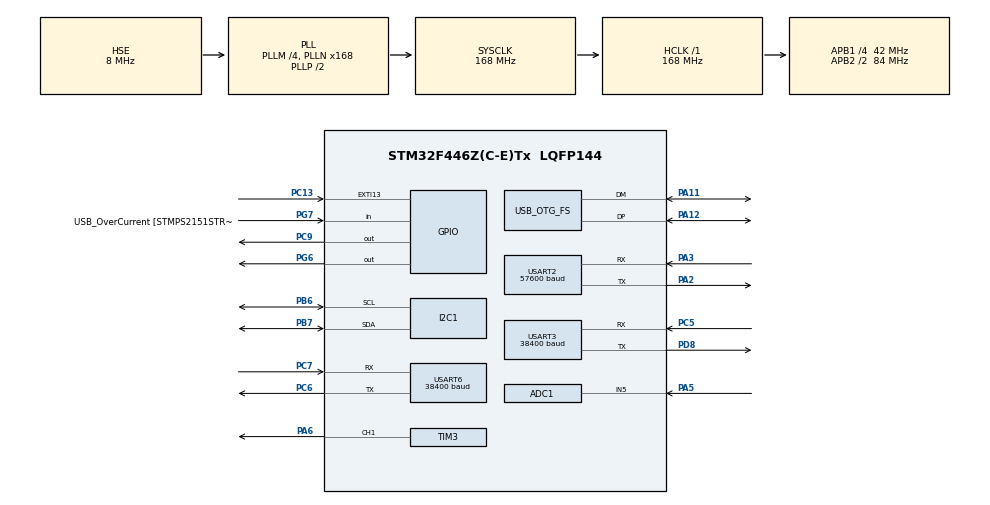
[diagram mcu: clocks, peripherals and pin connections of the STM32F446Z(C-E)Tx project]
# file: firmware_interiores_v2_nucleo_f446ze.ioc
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ADC1.Channel-9\#ChannelRegularConversion=ADC_CHANNEL_5
ADC1.NbrOfConversionFlag=1
ADC1.Rank-9\#ChannelRegularConversion=1
ADC1.SamplingTime-9\#ChannelRegularConversion=ADC_SAMPLETIME_3CYCLES
ADC1.master=1
Mcu.Family=STM32F4
Mcu.Name=STM32F446Z(C-E)Tx
Mcu.Package=LQFP144
NVIC.ADC_IRQn=true\:0\:0\:false\:false\:true\:true\:true\:true
NVIC.EXTI15_10_IRQn=true\:0\:0\:false\:false\:true\:true\:true\:true
NVIC.OTG_FS_IRQn=true\:0\:0\:false\:false\:true\:true\:true\:true
NVIC.PriorityGroup=NVIC_PRIORITYGROUP_4
NVIC.TIM2_IRQn=true\:0\:0\:false\:false\:true\:true\:true\:true
NVIC.USART2_IRQn=true\:0\:0\:false\:false\:true\:true\:true\:true
NVIC.USART3_IRQn=true\:0\:0\:false\:false\:true\:true\:true\:true
NVIC.USART6_IRQn=true\:0\:0\:false\:false\:true\:true\:true\:true
PA0-WKUP.Signal=S_TIM5_CH1
PA1.Signal=S_TIM5_CH2
PA10.GPIO_Label=USB_ID
PA10.Signal=USB_OTG_FS_ID
PA11.Mode=Device_Only
PA11.Signal=USB_OTG_FS_DM
PA12.Mode=Device_Only
PA12.Signal=USB_OTG_FS_DP
PA13.GPIO_Label=TMS
PA13.Mode=Serial_Wire
PA13.Signal=SYS_JTMS-SWDIO
PA14.GPIO_Label=TCK
PA14.Mode=Serial_Wire
PA14.Signal=SYS_JTCK-SWCLK
PA2.Mode=Asynchronous
PA2.Signal=USART2_TX
PA3.Mode=Asynchronous
PA3.Signal=USART2_RX
PA5.Signal=ADCx_IN5
PA6.Signal=S_TIM3_CH1
PA8.GPIO_Label=USB_SOF [TP1]
PA8.Signal=USB_OTG_FS_SOF
PA9.GPIO_Label=USB_VBUS
PA9.Signal=USB_OTG_FS_VBUS
PB0.Signal=S_TIM3_CH3
PB6.Mode=I2C
PB6.Signal=I2C1_SCL
PB7.Mode=I2C
PB7.Signal=I2C1_SDA
PB8.Signal=S_TIM2_CH1_ETR
PB9.Signal=S_TIM2_CH2
PC13.Signal=GPXTI13
PC14-OSC32_IN.Signal=RCC_OSC32_IN
PC15-OSC32_OUT.Signal=RCC_OSC32_OUT
PC5.Mode=Asynchronous
PC5.Signal=USART3_RX
PC6.Mode=Asynchronous
PC6.Signal=USART6_TX
PC7.Mode=Asynchronous
PC7.Signal=USART6_RX
PC9.Signal=GPIO_Output
PD8.Mode=Asynchronous
PD8.Signal=USART3_TX
PG6.Signal=GPIO_Output
PG7.GPIO_Label=USB_OverCurrent [STMPS2151STR_FAULT]
PG7.Signal=GPIO_Input
PH0-OSC_IN.Mode=HSE-External-Clock-Source
PH0-OSC_IN.Signal=RCC_OSC_IN
PH1-OSC_OUT.Mode=HSE-External-Clock-Source
PH1-OSC_OUT.Signal=RCC_OSC_OUT
ProjectManager.HeapSize=0x200
ProjectManager.StackSize=0x400
ProjectManager.TargetToolchain=STM32CubeIDE
RCC.48MHZClocksFreq_Value=24000000
RCC.AHBFreq_Value=168000000
RCC.APB1CLKDivider=RCC_HCLK_DIV4
RCC.APB1Freq_Value=42000000
RCC.APB1TimFreq_Value=84000000
RCC.APB2CLKDivider=RCC_HCLK_DIV2
RCC.APB2Freq_Value=84000000
RCC.APB2TimFreq_Value=168000000
RCC.CortexFreq_Value=168000000
RCC.HCLKFreq_Value=168000000
RCC.HSE_VALUE=8000000
RCC.HSI_VALUE=16000000
RCC.PLLM=4
RCC.PLLMUL=RCC_PLL_MUL9
RCC.PLLN=168
RCC.PLLQ=7
RCC.PLLSourceVirtual=RCC_PLLSOURCE_HSE
RCC.PRESCALERUSB=RCC_USBCLKSOURCE_PLL_DIV1_5
RCC.SYSCLKFreq_VALUE=168000000
RCC.SYSCLKSource=RCC_SYSCLKSOURCE_PLLCLK
RCC.SYSCLKSourceVirtual=RCC_SYSCLKSOURCE_PLLCLK
RCC.USBFreq_Value=48000000
RCC.VCOOutputFreq_Value=336000000
SH.ADCx_IN5.0=ADC1_IN5,IN5
SH.S_TIM2_CH1_ETR.0=TIM2_CH1
SH.S_TIM2_CH2.0=TIM2_CH2
SH.S_TIM3_CH1.0=TIM3_CH1,PWM Generation1 CH1
SH.S_TIM3_CH3.0=TIM3_CH3
SH.S_TIM5_CH1.0=TIM5_CH1
SH.S_TIM5_CH2.0=TIM5_CH2
TIM2.Period=1400
TIM2.Prescaler=59
TIM3.Channel-PWM\ Generation1\ CH1=TIM_CHANNEL_1
TIM3.Period=20000
TIM3.Prescaler=83
TIM3.Pulse-PWM\ Generation1\ CH1=1450
USART2.BaudRate=57600
USART2.VirtualMode=VM_ASYNC
USART3.BaudRate=38400
USART3.VirtualMode=VM_ASYNC
USART6.BaudRate=38400
USART6.VirtualMode=VM_ASYNC
USB_DEVICE.CLASS_NAME_FS=CDC
USB_DEVICE.PRODUCT_STRING_CDC_FS=STM32 Virtual DiegoPort
USB_DEVICE.VID-CDC_FS=1155
USB_DEVICE.VirtualMode-CDC_FS=Cdc
USB_DEVICE.VirtualModeFS=Cdc_FS
USB_OTG_FS.VirtualMode=Device_Only
VP_TIM2_VS_ClockSourceINT.Mode=Internal
VP_TIM3_VS_ClockSourceINT.Mode=Internal
VP_USB_DEVICE_VS_USB_DEVICE_CDC_FS.Mode=CDC_FS
board=NUCLEO-F446ZE

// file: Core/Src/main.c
/* USER CODE BEGIN Header */
/**
  ******************************************************************************
  * @file           : main.c
  * @brief          : Main program body
  ******************************************************************************
  * @attention
  *
  * Copyright (c) 2022 STMicroelectronics.
  * All rights reserved.
  *
  * This software is licensed under terms that can be found in the LICENSE file
  * in the root directory of this software component.
  * If no LICENSE file comes with this software, it is provided AS-IS.
  *
  ******************************************************************************
  */
/* USER CODE END Header */
#include "main.h"
#include "usb_device.h"

/* USER CODE BEGIN Includes */
#include "usbd_cdc_if.h"
#include "string.h"
#include "math.h"
#include "stdlib.h"
#include "stdbool.h"
//#include "MPU9250.h"
#include "IMU.h"
#include "math.h"
#include "WT901C.h"
//#include "MPU9250.h"

/* USER CODE END Includes */

 ADC_HandleTypeDef hadc1;

I2C_HandleTypeDef hi2c1;

TIM_HandleTypeDef htim2;
TIM_HandleTypeDef htim3;

UART_HandleTypeDef huart2;
UART_HandleTypeDef huart3;
UART_HandleTypeDef huart6;

/* USER CODE BEGIN PV */

UART_HandleTypeDef* address_huart1=&huart3;
UART_HandleTypeDef* address_huart2=&huart6;

int cmd_pulse=4256;
int forw=1;
uint16_t raw;
int skip=200;
int cmd=0;
int cmd_command=0;
int forw_rot=0;
int back_rot=0;
int stop_rot=0;

char *data="x5.12345123451234512345,y1.12345123451234512345,v1.12345123451234512345,w1.12345123451234512345";
float x1=5.12345;
float x2=3.46789;
float f = 2.45;
//char a[sizeof(float)];

char *s;
float info[3]; // floats with info
uint8_t data1[12];
uint8_t *array;
char out_s[2];
char sz1[64] = {' '} ;
char szaux[64];
char fill_res[20];
int count_tim1=0;

char mp[20];

char volt_array[16];
float Vadc = 0;

float buffer_txt[9];
float buffer[3];

uint8_t bufferaux_v[64];
uint8_t bufferaux_w[64];

char test1;
int intposv=0;
int intposw=0;
//char *data="HolaDiego";

//Motor encoder----------------------------
float enc_res=979.0;
//float enc_res=1632.0;
float sampling_time=20.0; //20ms
float tyre_deflection=1.0;
float indx_odom=0;
float counter_test1=0;
//int16_t enc_FR=0;
//int16_t enc_FL=0;
//int16_t enc_RL=0;
//int16_t enc_RR=0;

int16_t counter_M1=0;
int16_t counter_M2=0;
int16_t counter_M3=0;
int16_t counter_M4=0;

int16_t M1=0;
int16_t M2=0;
int16_t M3=0;
int16_t M4=0;

//------------------------------------

//setSpeed fun-------------------------
float lin=0;
float ang=0;
float L_wheel_lin_speed=0;
float R_wheel_lin_speed=0;
float L_wheel_angular_velocity=0;
float R_wheel_angular_velocity=0;
float L_enc_speed=0;
float R_enc_speed=0;

float FL_enc_speed;
float FR_enc_speed;
float RL_enc_speed;
float RR_enc_speed;

float rot_radio=0;
float new_L_enc_speed=0;
float new_R_enc_speed=0;
//------------------------------------

//updateOdometry fun-------------------------
float wheel_L_ang_vel=0;
float wheel_R_ang_vel=0;
float wheel_L_ang_pos=0;
float wheel_R_ang_pos=0;

float wheel_L_linear_vel=0;
float wheel_R_linear_vel=0;
float ICCx=0;
float ICCy=0;
float sampling_time_odom=0;
float t_ant=0;
float t_curr=0;
float outgoing=0;
bool imu_ready=false;
wt901c imu;

float t_ant_1=0;
float t_curr_1=0;
float t_delay_1=0;

float wheel_FL_ang_pos =0;
float wheel_FR_ang_pos =0;
float wheel_RL_ang_pos =0;
float wheel_RR_ang_pos =0;

float enc_L=0;
float enc_R=0;

float wheel_radius=0.05; //50 millimeters
float robot_width=0.21; //distance between robot left and right wheels, 21 centimeters
float diameter_mod=1.0; //DIAMETER_MODIFICATOR

float robot_angular_vel=0;
float robot_angular_pos=0;
float robot_angular_pos_aux=0;
float robot_angular_pos1=0;
float robot_angular_pos2=0;
float robot_x_vel=0;
float robot_y_vel=0;
float robot_x_pos=0;
float robot_y_pos=0;
float robot_linear_vel=0;

float R=0;
float wr=0;
//------------------------------------------

//setPower fun----------------------------------
float max_speed = 7996.8; //max pulses per second
float min_speed = -7996.8;//min pulses per second
float min_pwm = 2767;//2800;//3136.0;
float max_pwm = 5533;//5600;//5376.0;
float M1_pwm = 0;
float M2_pwm = 0;
float M3_pwm = 0;
float M4_pwm = 0;
//------------------------------------------

unsigned char *pFloat;
unsigned char* rx_ptr, * tx_ptr; //Punteros auxiliares UART
//unsigned char tx_buf[20], rx_buf[12]; //Buffers UART
float v_in, w_in, camera_in; //Valores deseados entrantes
float px_cur, py_cur, v_cur, w_cur, cam_cur; //Valores actuales salientes

//----ROBOCLAW------------------------

int32_t countsM1_roboclaw=0;
int32_t countsM2_roboclaw=0;
int32_t countsM3_roboclaw=0;
int32_t countsM4_roboclaw=0;

int32_t speedM1_roboclaw=0;
int32_t speedM2_roboclaw=0;
int32_t speedM3_roboclaw=0;
int32_t speedM4_roboclaw=0;
int32_t IspeedM1_roboclaw=0;
int32_t IspeedM2_roboclaw=0;

bool status_Counters_rw1;
bool status_Counters_rw2;
bool status_Speeds;
bool status_speedM1;
bool status_speedM2;
bool status_speedM3;
bool status_speedM4;

bool status_init_rw1;
bool status_init_rw2;

bool status_Set_Speed_rw1;
bool status_Set_Speed_rw2;

bool status_Set_Max_Current;
bool status_Read_Voltage;
bool status_state_rw1;
bool status_state_rw2;

float testvar1;
int flag_pos=0;
float angular_test=0;
float ant_enc_L;
float ant_enc_R;
float test_robot_angular_vel;
float test_wheel_L_ang_vel;
float test_wheel_R_ang_vel;
float ant_wheel_R_ang_pos,ant_wheel_L_ang_pos;
//STATUS ROBOCLAW--------------------------------------------------
float time_overcurrent_first_rw1,time_overcurrent_first_rw2;
float time_overcurrent_rw1,time_overcurrent_rw2;
float max_overcurrent=4.0;
float max_time_overcurrent=3.0;

int flag_status_register_rw2[7];
int flag_status_register_rw1[7];

float r1_m1=0;
float r1_m2=0;

float r2_m1=0;
float r2_m2=0;

bool status_Roboclaw;
bool status_button;

//------------------------------------------------------------------

int32_t max_current;
int32_t min_current;

int flagtest=0;

uint8_t rx_data[10];
#define address_roboclaw1      0x80
#define address_roboclaw2      0x80

#define PI 3.142857

uint8_t* readBufuart_dir;
uint8_t readBufuart_copy[4];
uint8_t readBufuart_copy_speed[4];
uint8_t readBufuart_copy_bat[2];
uint8_t readBufuart[7];

uint8_t readBufuart_bat[4];
uint8_t readBufuart_speed[7];
float voltage=0;
float timer_indoor_system=0;
//-------------------------------------

float offset_theta=0;
float theta_curr=0;
float delta_theta=0;
float theta_ant=0;

//MPU9250_Handle_t imu;
float accel_x;
float accel_y;
float accel_z;
float gyro_x;
float gyro_y;
float gyro_z;
float mag_x;
float mag_y;
float mag_z;

//READ camera POSITION

uint32_t angle_camera;

/* USER CODE END PV */

void SystemClock_Config(void);
static void MX_GPIO_Init(void);
static void MX_USART3_UART_Init(void);
static void MX_TIM2_Init(void);
static void MX_USART6_UART_Init(void);
static void MX_ADC1_Init(void);
static void MX_USART2_UART_Init(void);
static void MX_TIM3_Init(void);
static void MX_I2C1_Init(void);
/* USER CODE BEGIN PFP */

//callback it
void HAL_UART_RxCpltCallback(UART_HandleTypeDef* huart)
{
//	for (int i = 0; i < 11; i++)
//		parse_data(rx_buf[i]);
//
//	    calculate();
//
//	HAL_UART_Receive_IT(&huart2, rx_buf, 11);
	wt901c_callback();
}

void HAL_GPIO_EXTI_Callback(uint16_t GPIO_Pin){
	status_button=true;
}

void HAL_ADC_ConvCpltCallback(ADC_HandleTypeDef* hadc)
{
    // Read & Update The ADC Result
	angle_camera = HAL_ADC_GetValue(&hadc1);

}

/* USER CODE END PFP */

/* USER CODE BEGIN 0 */
/*char readBuf[1];
void HAL_UART_RxCpltCallback(UART_HandleTypeDef *UartHandle) {
  Se recibe el caracter y se pide el siguiente
 HAL_UART_Receive_IT(&huart6, (uint8_t*)readBuf, 1);
}*/

/*void HAL_TIM_IC_CaptureCallback(TIM_HandleTypeDef *htim){
	if(htim->Instance==TIM2){
			//count_tim1+=1;
			counter_M1=(int16_t)__HAL_TIM_GET_COUNTER(htim);//Encoder M1

		}
	if(htim->Instance==TIM3){
			counter_M2=(int16_t)__HAL_TIM_GET_COUNTER(htim);//Encoder M2
		}
	if(htim->Instance==TIM4){
			counter_M3=(int16_t)__HAL_TIM_GET_COUNTER(htim);//Encoder M3
		}
	if(htim->Instance==TIM5){
			counter_M4=(int16_t)__HAL_TIM_GET_COUNTER(htim);//Encoder M4
		}

}*/

/* USER CODE END 0 */

int main(void)
{

  /* MCU Configuration--------------------------------------------------------*/

  /* Reset of all peripherals, Initializes the Flash interface and the Systick. */
  HAL_Init();

  /* Configure the system clock */
  SystemClock_Config();

  /* Initialize all configured peripherals */
  MX_GPIO_Init();
  MX_USART3_UART_Init();
  MX_TIM2_Init();
  MX_USART6_UART_Init();
  MX_ADC1_Init();
  MX_USB_DEVICE_Init();
  MX_USART2_UART_Init();
  MX_TIM3_Init();
  MX_I2C1_Init();
  /* USER CODE BEGIN 2 */

  HAL_TIM_Base_Start_IT(&htim2);
  HAL_TIM_PWM_Start(&htim3, TIM_CHANNEL_1);

  //HAL_ADCEx_InjectedStart(&hadc1);
  //HAL_ADC_Start_DMA(&hadc1, &camera, 1);

  //main
//  imu_ready=false;
//  HAL_UART_Receive_IT(&huart2, rx_buf, 11);
//  HAL_Delay(200);
//  offset_theta=theta_imu[2]+180;
//  HAL_UART_Receive_IT(&huart2, rx_buf, 11);
//  HAL_Delay(200);
//  theta_ant=theta_imu[2]+180;
//  HAL_UART_Receive_IT(&huart2, rx_buf, 11);
//  HAL_Delay(200);
//  theta_curr=theta_imu[2]+180;
//  imu_ready=true;
  wt901c_init(&huart2);

  status_init_rw1=roboclaw1_init(address_huart1,(uint8_t) address_roboclaw1);
  status_init_rw2=roboclaw2_init(address_huart2,(uint8_t) address_roboclaw2);

  //HAL_TIM_PWM_Start(&htim1, TIM_CHANNEL_1);
  //HAL_TIM_PWM_Start(&htim1, TIM_CHANNEL_2);
  //HAL_TIM_PWM_Start(&htim1, TIM_CHANNEL_3);
  //HAL_TIM_PWM_Start(&htim1, TIM_CHANNEL_4);
  //HAL_TIM_Encoder_Start_IT(&htim2, TIM_CHANNEL_ALL);
  //HAL_TIM_Encoder_Start_IT(&htim3, TIM_CHANNEL_ALL);
  //HAL_TIM_Encoder_Start_IT(&htim4, TIM_CHANNEL_ALL);
  //HAL_TIM_Encoder_Start_IT(&htim5, TIM_CHANNEL_ALL);

  //HAL_ADCEx_InjectedStart(&hadc1);

  /* USER CODE END 2 */

  /* Infinite loop */
  /* USER CODE BEGIN WHILE */
  //HAL_UART_Receive_IT(&huart6, (uint8_t*)readBuf, 1);

  while (1)
  {

    /* USER CODE END WHILE */

    /* USER CODE BEGIN 3 */

      //if(Check_Status_Roboclaws(address_huart1,address_huart2,(uint8_t)address_roboclaw1,(uint8_t)address_roboclaw2)!=0)
	  //{
		  /*if(timer_indoor_system<=10){
			  setSpeed(0.5, 0);
		  }
		  if(timer_indoor_system>10 & timer_indoor_system<15){
			  setSpeed(0, 0);
		  }
		  if(timer_indoor_system>=15 & timer_indoor_system<=25){
			  setSpeed(-0.5, 0);
		  }
		  if(timer_indoor_system>25){
			  setSpeed(0, 0);
		  }

		  if(timer_indoor_system<=10){
			  setSpeed(v_in, w_in);
		  }else{
			  setSpeed(0, 0);
		  }*/

    	  t_curr_1=timer_indoor_system;
	  	  t_delay_1=t_curr_1-t_ant_1;
	  	  setSpeed(v_in, w_in);
	  	  setAngleCamera(camera_in);
		  status_speedM1=Read_Encoder_Speed(address_huart1,(uint8_t)address_roboclaw1,(uint8_t)1,&speedM1_roboclaw);
		  status_speedM2=Read_Encoder_Speed(address_huart1,(uint8_t)address_roboclaw1,(uint8_t)2,&speedM2_roboclaw);
		  status_speedM3=Read_Encoder_Speed(address_huart2,(uint8_t)address_roboclaw2,(uint8_t)1,&speedM3_roboclaw);
		  status_speedM4=Read_Encoder_Speed(address_huart2,(uint8_t)address_roboclaw2,(uint8_t)2,&speedM4_roboclaw);
		  status_Counters_rw1=Read_Both_Encoder_Counts(address_huart1,(uint8_t)address_roboclaw1,&countsM1_roboclaw,&countsM2_roboclaw);
		  status_Counters_rw2=Read_Both_Encoder_Counts(address_huart2,(uint8_t)address_roboclaw2,&countsM3_roboclaw,&countsM4_roboclaw);

		  //status_button=HAL_GPIO_ReadPin(B1_reset_odom_GPIO_Port, B1_reset_odom_Pin);
		  if(status_button==true){
			  reset_Odometry();
		  }
		  t_ant_1=t_curr_1;

	  //}

  }
  /* USER CODE END 3 */
}

void SystemClock_Config(void)
{
  RCC_OscInitTypeDef RCC_OscInitStruct = {0};
  RCC_ClkInitTypeDef RCC_ClkInitStruct = {0};

  /** Configure the main internal regulator output voltage
  */
  __HAL_RCC_PWR_CLK_ENABLE();
  __HAL_PWR_VOLTAGESCALING_CONFIG(PWR_REGULATOR_VOLTAGE_SCALE1);

  /** Initializes the RCC Oscillators according to the specified parameters
  * in the RCC_OscInitTypeDef structure.
  */
  RCC_OscInitStruct.OscillatorType = RCC_OSCILLATORTYPE_HSE;
  RCC_OscInitStruct.HSEState = RCC_HSE_BYPASS;
  RCC_OscInitStruct.PLL.PLLState = RCC_PLL_ON;
  RCC_OscInitStruct.PLL.PLLSource = RCC_PLLSOURCE_HSE;
  RCC_OscInitStruct.PLL.PLLM = 4;
  RCC_OscInitStruct.PLL.PLLN = 168;
  RCC_OscInitStruct.PLL.PLLP = RCC_PLLP_DIV2;
  RCC_OscInitStruct.PLL.PLLQ = 7;
  RCC_OscInitStruct.PLL.PLLR = 2;
  if (HAL_RCC_OscConfig(&RCC_OscInitStruct) != HAL_OK)
  {
    Error_Handler();
  }

  /** Initializes the CPU, AHB and APB buses clocks
  */
  RCC_ClkInitStruct.ClockType = RCC_CLOCKTYPE_HCLK|RCC_CLOCKTYPE_SYSCLK
                              |RCC_CLOCKTYPE_PCLK1|RCC_CLOCKTYPE_PCLK2;
  RCC_ClkInitStruct.SYSCLKSource = RCC_SYSCLKSOURCE_PLLCLK;
  RCC_ClkInitStruct.AHBCLKDivider = RCC_SYSCLK_DIV1;
  RCC_ClkInitStruct.APB1CLKDivider = RCC_HCLK_DIV4;
  RCC_ClkInitStruct.APB2CLKDivider = RCC_HCLK_DIV2;

  if (HAL_RCC_ClockConfig(&RCC_ClkInitStruct, FLASH_LATENCY_5) != HAL_OK)
  {
    Error_Handler();
  }
}

static void MX_ADC1_Init(void)
{

  ADC_ChannelConfTypeDef sConfig = {0};

  /** Configure the global features of the ADC (Clock, Resolution, Data Alignment and number of conversion)
  */
  hadc1.Instance = ADC1;
  hadc1.Init.ClockPrescaler = ADC_CLOCK_SYNC_PCLK_DIV4;
  hadc1.Init.Resolution = ADC_RESOLUTION_12B;
  hadc1.Init.ScanConvMode = DISABLE;
  hadc1.Init.ContinuousConvMode = DISABLE;
  hadc1.Init.DiscontinuousConvMode = DISABLE;
  hadc1.Init.ExternalTrigConvEdge = ADC_EXTERNALTRIGCONVEDGE_NONE;
  hadc1.Init.ExternalTrigConv = ADC_SOFTWARE_START;
  hadc1.Init.DataAlign = ADC_DATAALIGN_RIGHT;
  hadc1.Init.NbrOfConversion = 1;
  hadc1.Init.DMAContinuousRequests = DISABLE;
  hadc1.Init.EOCSelection = ADC_EOC_SINGLE_CONV;
  if (HAL_ADC_Init(&hadc1) != HAL_OK)
  {
    Error_Handler();
  }

  /** Configure for the selected ADC regular channel its corresponding rank in the sequencer and its sample time.
  */
  sConfig.Channel = ADC_CHANNEL_5;
  sConfig.Rank = 1;
  sConfig.SamplingTime = ADC_SAMPLETIME_3CYCLES;
  if (HAL_ADC_ConfigChannel(&hadc1, &sConfig) != HAL_OK)
  {
    Error_Handler();
  }

}

static void MX_I2C1_Init(void)
{

  hi2c1.Instance = I2C1;
  hi2c1.Init.ClockSpeed = 100000;
  hi2c1.Init.DutyCycle = I2C_DUTYCYCLE_2;
  hi2c1.Init.OwnAddress1 = 0;
  hi2c1.Init.AddressingMode = I2C_ADDRESSINGMODE_7BIT;
  hi2c1.Init.DualAddressMode = I2C_DUALADDRESS_DISABLE;
  hi2c1.Init.OwnAddress2 = 0;
  hi2c1.Init.GeneralCallMode = I2C_GENERALCALL_DISABLE;
  hi2c1.Init.NoStretchMode = I2C_NOSTRETCH_DISABLE;
  if (HAL_I2C_Init(&hi2c1) != HAL_OK)
  {
    Error_Handler();
  }

}

static void MX_TIM2_Init(void)
{

  TIM_ClockConfigTypeDef sClockSourceConfig = {0};
  TIM_MasterConfigTypeDef sMasterConfig = {0};

  htim2.Instance = TIM2;
  htim2.Init.Prescaler = 59;
  htim2.Init.CounterMode = TIM_COUNTERMODE_UP;
  htim2.Init.Period = 1400;
  htim2.Init.ClockDivision = TIM_CLOCKDIVISION_DIV1;
  htim2.Init.AutoReloadPreload = TIM_AUTORELOAD_PRELOAD_DISABLE;
  if (HAL_TIM_Base_Init(&htim2) != HAL_OK)
  {
    Error_Handler();
  }
  sClockSourceConfig.ClockSource = TIM_CLOCKSOURCE_INTERNAL;
  if (HAL_TIM_ConfigClockSource(&htim2, &sClockSourceConfig) != HAL_OK)
  {
    Error_Handler();
  }
  sMasterConfig.MasterOutputTrigger = TIM_TRGO_RESET;
  sMasterConfig.MasterSlaveMode = TIM_MASTERSLAVEMODE_DISABLE;
  if (HAL_TIMEx_MasterConfigSynchronization(&htim2, &sMasterConfig) != HAL_OK)
  {
    Error_Handler();
  }

}

static void MX_TIM3_Init(void)
{

  TIM_ClockConfigTypeDef sClockSourceConfig = {0};
  TIM_MasterConfigTypeDef sMasterConfig = {0};
  TIM_OC_InitTypeDef sConfigOC = {0};

  htim3.Instance = TIM3;
  htim3.Init.Prescaler = 83;
  htim3.Init.CounterMode = TIM_COUNTERMODE_UP;
  htim3.Init.Period = 20000;
  htim3.Init.ClockDivision = TIM_CLOCKDIVISION_DIV1;
  htim3.Init.AutoReloadPreload = TIM_AUTORELOAD_PRELOAD_DISABLE;
  if (HAL_TIM_Base_Init(&htim3) != HAL_OK)
  {
    Error_Handler();
  }
  sClockSourceConfig.ClockSource = TIM_CLOCKSOURCE_INTERNAL;
  if (HAL_TIM_ConfigClockSource(&htim3, &sClockSourceConfig) != HAL_OK)
  {
    Error_Handler();
  }
  if (HAL_TIM_PWM_Init(&htim3) != HAL_OK)
  {
    Error_Handler();
  }
  sMasterConfig.MasterOutputTrigger = TIM_TRGO_RESET;
  sMasterConfig.MasterSlaveMode = TIM_MASTERSLAVEMODE_DISABLE;
  if (HAL_TIMEx_MasterConfigSynchronization(&htim3, &sMasterConfig) != HAL_OK)
  {
    Error_Handler();
  }
  sConfigOC.OCMode = TIM_OCMODE_PWM1;
  sConfigOC.Pulse = 1450;
  sConfigOC.OCPolarity = TIM_OCPOLARITY_HIGH;
  sConfigOC.OCFastMode = TIM_OCFAST_DISABLE;
  if (HAL_TIM_PWM_ConfigChannel(&htim3, &sConfigOC, TIM_CHANNEL_1) != HAL_OK)
  {
    Error_Handler();
  }
  HAL_TIM_MspPostInit(&htim3);

}

static void MX_USART2_UART_Init(void)
{

  huart2.Instance = USART2;
  huart2.Init.BaudRate = 57600;
  huart2.Init.WordLength = UART_WORDLENGTH_8B;
  huart2.Init.StopBits = UART_STOPBITS_1;
  huart2.Init.Parity = UART_PARITY_NONE;
  huart2.Init.Mode = UART_MODE_TX_RX;
  huart2.Init.HwFlowCtl = UART_HWCONTROL_NONE;
  huart2.Init.OverSampling = UART_OVERSAMPLING_16;
  if (HAL_UART_Init(&huart2) != HAL_OK)
  {
    Error_Handler();
  }

}

static void MX_USART3_UART_Init(void)
{

  huart3.Instance = USART3;
  huart3.Init.BaudRate = 38400;
  huart3.Init.WordLength = UART_WORDLENGTH_8B;
  huart3.Init.StopBits = UART_STOPBITS_1;
  huart3.Init.Parity = UART_PARITY_NONE;
  huart3.Init.Mode = UART_MODE_TX_RX;
  huart3.Init.HwFlowCtl = UART_HWCONTROL_NONE;
  huart3.Init.OverSampling = UART_OVERSAMPLING_16;
  if (HAL_UART_Init(&huart3) != HAL_OK)
  {
    Error_Handler();
  }

}

static void MX_USART6_UART_Init(void)
{

  huart6.Instance = USART6;
  huart6.Init.BaudRate = 38400;
  huart6.Init.WordLength = UART_WORDLENGTH_8B;
  huart6.Init.StopBits = UART_STOPBITS_1;
  huart6.Init.Parity = UART_PARITY_NONE;
  huart6.Init.Mode = UART_MODE_TX_RX;
  huart6.Init.HwFlowCtl = UART_HWCONTROL_NONE;
  huart6.Init.OverSampling = UART_OVERSAMPLING_16;
  if (HAL_UART_Init(&huart6) != HAL_OK)
  {
    Error_Handler();
  }

}

static void MX_GPIO_Init(void)
{
  GPIO_InitTypeDef GPIO_InitStruct = {0};

  /* GPIO Ports Clock Enable */
  __HAL_RCC_GPIOC_CLK_ENABLE();
  __HAL_RCC_GPIOH_CLK_ENABLE();
  __HAL_RCC_GPIOA_CLK_ENABLE();
  __HAL_RCC_GPIOB_CLK_ENABLE();
  __HAL_RCC_GPIOD_CLK_ENABLE();
  __HAL_RCC_GPIOG_CLK_ENABLE();

  /*Configure GPIO pin Output Level */
  HAL_GPIO_WritePin(GPIOG, GPIO_PIN_6, GPIO_PIN_RESET);

  /*Configure GPIO pin Output Level */
  HAL_GPIO_WritePin(GPIOC, GPIO_PIN_9, GPIO_PIN_RESET);

  /*Configure GPIO pin : PC13 */
  GPIO_InitStruct.Pin = GPIO_PIN_13;
  GPIO_InitStruct.Mode = GPIO_MODE_IT_RISING;
  GPIO_InitStruct.Pull = GPIO_NOPULL;
  HAL_GPIO_Init(GPIOC, &GPIO_InitStruct);

  /*Configure GPIO pins : PA0 PA1 */
  GPIO_InitStruct.Pin = GPIO_PIN_0|GPIO_PIN_1;
  GPIO_InitStruct.Mode = GPIO_MODE_AF_PP;
  GPIO_InitStruct.Pull = GPIO_NOPULL;
  GPIO_InitStruct.Speed = GPIO_SPEED_FREQ_LOW;
  GPIO_InitStruct.Alternate = GPIO_AF2_TIM5;
  HAL_GPIO_Init(GPIOA, &GPIO_InitStruct);

  /*Configure GPIO pin : PG6 */
  GPIO_InitStruct.Pin = GPIO_PIN_6;
  GPIO_InitStruct.Mode = GPIO_MODE_OUTPUT_PP;
  GPIO_InitStruct.Pull = GPIO_NOPULL;
  GPIO_InitStruct.Speed = GPIO_SPEED_FREQ_LOW;
  HAL_GPIO_Init(GPIOG, &GPIO_InitStruct);

  /*Configure GPIO pin : USB_OverCurrent_Pin */
  GPIO_InitStruct.Pin = USB_OverCurrent_Pin;
  GPIO_InitStruct.Mode = GPIO_MODE_INPUT;
  GPIO_InitStruct.Pull = GPIO_NOPULL;
  HAL_GPIO_Init(USB_OverCurrent_GPIO_Port, &GPIO_InitStruct);

  /*Configure GPIO pin : PC9 */
  GPIO_InitStruct.Pin = GPIO_PIN_9;
  GPIO_InitStruct.Mode = GPIO_MODE_OUTPUT_PP;
  GPIO_InitStruct.Pull = GPIO_NOPULL;
  GPIO_InitStruct.Speed = GPIO_SPEED_FREQ_LOW;
  HAL_GPIO_Init(GPIOC, &GPIO_InitStruct);

  /* EXTI interrupt init*/
  HAL_NVIC_SetPriority(EXTI15_10_IRQn, 0, 0);
  HAL_NVIC_EnableIRQ(EXTI15_10_IRQn);

}

/* USER CODE BEGIN 4 */

//----ODOMETRY---------------------------------------------------

void HAL_TIM_PeriodElapsedCallback(TIM_HandleTypeDef* htim)
{
	  if(htim->Instance==TIM2){
		  timer_indoor_system+=0.001;
		  indx_odom++;
		  if(indx_odom==sampling_time){
			  //if(imu_ready==true)
			  //{
				  odometryUpdater(countsM1_roboclaw,countsM2_roboclaw,countsM3_roboclaw,countsM4_roboclaw,speedM1_roboclaw,speedM2_roboclaw,speedM3_roboclaw,speedM4_roboclaw);
			  //}
			  indx_odom=0;
		  }
	  }
}

void reset_Odometry()
{
	bool set_1=Drive_M1_M2_With_Signed_Speed(address_huart1,(uint8_t)address_roboclaw1, 0, 0);
	bool set_2=Drive_M1_M2_With_Signed_Speed(address_huart2,(uint8_t)address_roboclaw2, 0, 0);
	bool set_3=Reset_Encoder_Counters(address_huart1,(uint8_t)address_roboclaw1);
	bool set_4=Reset_Encoder_Counters(address_huart2,(uint8_t)address_roboclaw2);

	wt901c_init(&huart2);

//	  imu_ready=false;
//	  HAL_UART_Receive_IT(&huart2, rx_buf, 11);
//	  HAL_Delay(200);
//	  offset_theta=theta_imu[2]+180;
//	  HAL_UART_Receive_IT(&huart2, rx_buf, 11);
//	  HAL_Delay(200);
//	  theta_ant=theta_imu[2]+180;
//	  HAL_UART_Receive_IT(&huart2, rx_buf, 11);
//	  HAL_Delay(200);
//	  theta_curr=theta_imu[2]+180;
//	  imu_ready=true;

	robot_x_pos=0;
	robot_y_pos=0;
	robot_angular_pos=0;
	robot_angular_pos_aux=0;
	theta_ant=0;
	theta_curr=0;
	delta_theta=0;
	robot_linear_vel=0;
	robot_x_vel=0;
	robot_y_vel=0;
	robot_angular_vel=0;
	status_button=false;

}

void odometryUpdater(int32_t enc_FL, int32_t enc_FR, int32_t enc_RL, int32_t enc_RR, int32_t w_FL, int32_t w_FR, int32_t w_RL, int32_t w_RR)
{
//	float enc_res=979.2;
//	t_curr=timer_indoor_system;
//
//
//	wheel_FL_ang_pos = 2 * 3.14 * enc_FL / enc_res;
//    wheel_FR_ang_pos = 2 * 3.14 * enc_FR / 1632;
//    wheel_RL_ang_pos = 2 * 3.14 * enc_RL / enc_res;
//    wheel_RR_ang_pos = 2 * 3.14 * enc_RR / enc_res;
//
//    enc_L = (enc_FL+enc_RL) / (2 * tyre_deflection);
//    enc_R = (enc_FR/1.667+enc_RR) / (2 * tyre_deflection);
//
//    wheel_L_ang_vel=(((w_FL+w_RL)/2)/979.2)*(2*M_PI);
//    //wheel_R_ang_vel=(((w_FR+w_RR)/2)/979.2)*(2*M_PI);
//    wheel_R_ang_vel=((((w_FR/1.667)+w_RR)/2)/979.2)*(2*M_PI);
//
//    wheel_L_linear_vel=wheel_L_ang_vel*wheel_radius;
//	wheel_R_linear_vel=wheel_R_ang_vel*wheel_radius;
//
//
//
//
//    float cur_wheel_L_ang_pos = 2 * M_PI * enc_L / 979.2;
//    float cur_wheel_R_ang_pos = 2 * M_PI * enc_R / 979.2;
//
////    if(((wheel_L_ang_vel>=0) & (wheel_R_ang_vel>=0))||((wheel_L_ang_vel<=0) & (wheel_R_ang_vel<=0))){
////    	robot_angular_vel=((wheel_R_ang_vel-wheel_L_ang_vel)*wheel_radius)/robot_width;
////
////    }else{
////    	robot_angular_vel=(((wheel_R_ang_vel-wheel_L_ang_vel)/2)*wheel_radius)/robot_width;
////
////    }
//
////    float delta_wheel_L_ang_pos=cur_wheel_L_ang_pos-ant_wheel_L_ang_pos;
////    ant_wheel_L_ang_pos=cur_wheel_L_ang_pos;
////
////    float delta_wheel_R_ang_pos=cur_wheel_R_ang_pos-ant_wheel_R_ang_pos;
////    ant_wheel_R_ang_pos=cur_wheel_R_ang_pos;
//
//
//    robot_angular_pos=imu.ang[2]*M_PI/180;
//    robot_angular_vel=imu.w[2]*M_PI/180;
//
//
//    HAL_ADC_Start_IT(&hadc1);
//    float remaped_angle_camera=(angle_camera*0.0016)-2.2855;
//
//    sampling_time_odom=t_curr-t_ant;
//    robot_linear_vel=(wheel_L_linear_vel+wheel_R_linear_vel)/2;
//    robot_x_vel = robot_linear_vel * cos(robot_angular_pos);
//    robot_y_vel = robot_linear_vel * sin(robot_angular_pos);
//    robot_x_pos = robot_x_pos + robot_x_vel * (sampling_time_odom);
//    robot_y_pos = robot_y_pos + robot_y_vel * (sampling_time_odom);
//    t_ant=t_curr;
//
//
//
//    mag_y=0;
//    gyro_z=0;
//    accel_x=0;
//
//
//    buffer_txt[0]=robot_x_pos;
//    buffer_txt[1]=robot_y_pos;
//    buffer_txt[2]=robot_angular_pos;//theta_imu[2]-offset_theta;
//    buffer_txt[3]=robot_linear_vel;
//    buffer_txt[4]=robot_angular_vel;
//    buffer_txt[5]=mag_y;//robot_angular_vel
//    buffer_txt[6]=gyro_z;
//    buffer_txt[7]=accel_x;
//    buffer_txt[8]=remaped_angle_camera;
//    CDC_Transmit_FS(&buffer_txt, 9 * sizeof(float));

	float enc_res=979.2;
	t_curr=timer_indoor_system;

	wheel_FL_ang_pos = 2 * 3.14 * enc_FL / enc_res;
    wheel_FR_ang_pos = 2 * 3.14 * enc_FR / 1632;
    wheel_RL_ang_pos = 2 * 3.14 * enc_RL / enc_res;
    wheel_RR_ang_pos = 2 * 3.14 * enc_RR / enc_res;

    enc_L = (enc_FL+enc_RL) / (2 * tyre_deflection);
    enc_R = (enc_FR/1.667+enc_RR) / (2 * tyre_deflection);

    wheel_L_ang_vel=(((w_FL+w_RL)/2)/979.2)*(2*M_PI);
    //wheel_R_ang_vel=(((w_FR+w_RR)/2)/979.2)*(2*M_PI);
    wheel_R_ang_vel=((((w_FR/1.667)+w_RR)/2)/979.2)*(2*M_PI);

    wheel_L_linear_vel=wheel_L_ang_vel*wheel_radius;
	wheel_R_linear_vel=wheel_R_ang_vel*wheel_radius;

    float cur_wheel_L_ang_pos = 2 * M_PI * enc_L / 979.2;
    float cur_wheel_R_ang_pos = 2 * M_PI * enc_R / 979.2;

    if(((wheel_L_ang_vel>=0) & (wheel_R_ang_vel>=0))||((wheel_L_ang_vel<=0) & (wheel_R_ang_vel<=0))){
    	robot_angular_vel=((wheel_R_ang_vel-wheel_L_ang_vel)*wheel_radius)/robot_width;

    }else{
    	robot_angular_vel=(((wheel_R_ang_vel-wheel_L_ang_vel)/2)*wheel_radius)/robot_width;

    }

    float delta_wheel_L_ang_pos=cur_wheel_L_ang_pos-ant_wheel_L_ang_pos;
    ant_wheel_L_ang_pos=cur_wheel_L_ang_pos;

    float delta_wheel_R_ang_pos=cur_wheel_R_ang_pos-ant_wheel_R_ang_pos;
    ant_wheel_R_ang_pos=cur_wheel_R_ang_pos;

        if(((delta_wheel_L_ang_pos>=0) & (delta_wheel_R_ang_pos>=0)) || ((delta_wheel_L_ang_pos<=0) & (delta_wheel_R_ang_pos<=0))){
        	robot_angular_pos=robot_angular_pos+((delta_wheel_R_ang_pos-delta_wheel_L_ang_pos)*wheel_radius/robot_width);
        }else{
        	if(delta_wheel_R_ang_pos>0){
        		robot_angular_pos=robot_angular_pos+fabs(((delta_wheel_R_ang_pos+fabs(delta_wheel_L_ang_pos))/2)*wheel_radius/robot_width);
        	}else{
        		robot_angular_pos=robot_angular_pos-fabs(((fabs(delta_wheel_R_ang_pos)+delta_wheel_L_ang_pos)/2)*wheel_radius/robot_width);
        	}
        }

//    robot_angular_pos=imu.ang[2]*M_PI/180;
//    robot_angular_vel=imu.w[2]*M_PI/180;

    HAL_ADC_Start_IT(&hadc1);
    float remaped_angle_camera=(angle_camera*0.0016)-2.2855;

    sampling_time_odom=t_curr-t_ant;
    robot_linear_vel=(wheel_L_linear_vel+wheel_R_linear_vel)/2;
    robot_x_vel = robot_linear_vel * cos(robot_angular_pos);
    robot_y_vel = robot_linear_vel * sin(robot_angular_pos);
    robot_x_pos = robot_x_pos + robot_x_vel * (sampling_time_odom);
    robot_y_pos = robot_y_pos + robot_y_vel * (sampling_time_odom);
    t_ant=t_curr;

    mag_z=imu.ang[2]*M_PI/180; //yaw angle in radians
    gyro_z=imu.w[2]*M_PI/180;  //yaw vel in radians/s
    accel_x=imu.a[0];          //acc x in m/s2

    buffer_txt[0]=robot_x_pos;
    buffer_txt[1]=robot_y_pos;
    buffer_txt[2]=robot_angular_pos;//theta_imu[2]-offset_theta;
    buffer_txt[3]=robot_linear_vel;
    buffer_txt[4]=robot_angular_vel;
    buffer_txt[5]=mag_z;//robot_angular_vel
    buffer_txt[6]=gyro_z;
    buffer_txt[7]=accel_x;
    buffer_txt[8]=remaped_angle_camera;
    CDC_Transmit_FS(&buffer_txt, 9 * sizeof(float));

}

void setAngleCamera(float set_camera)
{
	float pwm_camera=set_camera*605.81+1451.6;
	__HAL_TIM_SET_COMPARE(&htim3,TIM_CHANNEL_1,pwm_camera);

}

void setSpeed(float linear, float angular)
{
    float enc_res=979.2;

	bool set_0,set_1;
	lin = linear;
    ang = angular;
    if(fabs(lin)>1.5386) 	lin=(linear/fabs(linear))*1.5386;
    if(fabs(ang)>14.65) 	ang=(angular/fabs(angular))*14.65;

    L_wheel_lin_speed = lin - (ang * robot_width);
    R_wheel_lin_speed = lin + (ang * robot_width);
    L_wheel_angular_velocity = L_wheel_lin_speed / wheel_radius;
    R_wheel_angular_velocity = R_wheel_lin_speed / wheel_radius;
    L_enc_speed = enc_res * L_wheel_angular_velocity / (2 * M_PI);
    R_enc_speed = enc_res * R_wheel_angular_velocity / (2 * M_PI);

    float R_enc_speed_34_1= 1632 * R_wheel_angular_velocity / (2 * M_PI);

    if(abs(L_enc_speed)>max_speed || abs(R_enc_speed)>max_speed)
    {
    	if(abs(R_enc_speed)>abs(L_enc_speed))
    	{
    		rot_radio= fabs(R_enc_speed/max_speed);
    		new_R_enc_speed=(R_enc_speed/fabs(R_enc_speed))*max_speed;  //(R_enc_speed/fabs(R_enc_speed)) is to get the sign of the original command
    		new_L_enc_speed=L_enc_speed/rot_radio;
    	}else{
    		rot_radio= fabs(L_enc_speed/max_speed);
    		new_L_enc_speed=(R_enc_speed/fabs(R_enc_speed))*max_speed;
    		new_R_enc_speed=R_enc_speed/rot_radio;
    	}

    	//setPower(new_L_enc_speed, new_R_enc_speed, new_R_enc_speed, new_L_enc_speed);  //M1-M2-M3-M4

    }else
    {

    	set_0=Drive_M1_M2_With_Signed_Speed(address_huart1,(uint8_t)address_roboclaw1, L_enc_speed, R_enc_speed_34_1);
    	set_1=Drive_M1_M2_With_Signed_Speed(address_huart2,(uint8_t)address_roboclaw2, L_enc_speed, R_enc_speed);
    }

}

//----------------------------------------------------

float map(float value, float in_low, float in_high, float out_low, float out_high)
{
    float outgoing = out_low + (out_high - out_low) * ((value - in_low) / (in_high - in_low));
    return outgoing;
  }

void setPower(float power_M1, float power_M2, float power_M3, float power_M4)
{
	M1_pwm = map(power_M1,min_speed,max_speed,min_pwm,max_pwm);
	M2_pwm = map(power_M2,min_speed,max_speed,min_pwm,max_pwm);
	M3_pwm = map(power_M3,min_speed,max_speed,min_pwm,max_pwm);
	M4_pwm = map(power_M4,min_speed,max_speed,min_pwm,max_pwm);

	//__HAL_TIM_SET_COMPARE(&htim1, TIM_CHANNEL_1, M1_pwm);
	//__HAL_TIM_SET_COMPARE(&htim1, TIM_CHANNEL_2, M2_pwm);
	//__HAL_TIM_SET_COMPARE(&htim1, TIM_CHANNEL_3, M3_pwm);
	//__HAL_TIM_SET_COMPARE(&htim1, TIM_CHANNEL_4, M4_pwm);

}

int32_t Read_Encoder_Count(UART_HandleTypeDef* address_huart,uint8_t address_roboclaw, int motor)
{
      uint8_t cmd_motor;
	  if (motor==1) cmd_motor=16;
	  if (motor==2) cmd_motor=17;
	  uint8_t txBuff[2]; // two bytes for address and cmd, two for value
	  txBuff[0] = address_roboclaw; //first to write is address
	  txBuff[1] = cmd_motor; // second is cmd
	  HAL_UART_Transmit(address_huart, txBuff, sizeof(txBuff), 100);

	  uint8_t rxBuff[7];
	  HAL_UART_Receive(address_huart, rxBuff, 7,100);
	  return (int32_t) ((uint32_t)((rxBuff[0] << 24) | (rxBuff[1] << 16) | (rxBuff[2] << 8) | rxBuff[3]));
}

bool Read_Encoder_Speed(UART_HandleTypeDef* address_huart, uint8_t address_roboclaw, int motor, int32_t *speedMX_roboclaw)
{
	uint8_t cmd_motor;
	if (motor==1) cmd_motor=18;
	if (motor==2) cmd_motor=19;
	uint8_t txBuff[2]; // two bytes for address and cmd, two for value
	txBuff[0] = address_roboclaw; //first to write is address
	txBuff[1] = cmd_motor; // second is cmd
	HAL_UART_Transmit(address_huart, txBuff, sizeof(txBuff), 100);

	uint8_t rxBuff[7];
	HAL_UART_Receive(address_huart, rxBuff, 7,100);

	//CHECK THE CHK REGISTER-----------------
	uint8_t chk[7];
	memcpy(&chk[0],&txBuff[0],2);
	memcpy(&chk[2],&rxBuff[0],5);
	uint16_t crc_tx= crc16((unsigned char *)chk,7);
	uint16_t crc_rx= (rxBuff[5]<<8 | rxBuff[6]);
	//---------------------------------------

	if(crc_tx==crc_rx){
		*speedMX_roboclaw=(int32_t) ((uint32_t)((rxBuff[0] << 24) | (rxBuff[1] << 16) | (rxBuff[2] << 8) | rxBuff[3]));
		return true;
	}
	else{
		return false;
	}
}

bool Read_Encoder_ISpeed(UART_HandleTypeDef* address_huart, uint8_t address_roboclaw, int32_t *IspeedM1_roboclaw, int32_t *IspeedM2_roboclaw){
	uint8_t txBuff[2]; // two bytes for address and cmd, two for value
	txBuff[0] = address_roboclaw; //first to write is address
	txBuff[1] = (uint8_t)79; // second is cmd
	HAL_UART_Transmit(address_huart, txBuff, sizeof(txBuff), 100);

	uint8_t rxBuff[10];
	HAL_UART_Receive(address_huart, rxBuff, 10,100);

	//CHECK THE CHK REGISTER-----------------
	uint8_t chk[10];
	memcpy(&chk[0],&txBuff[0],2);
	memcpy(&chk[2],&rxBuff[0],8);
	uint16_t crc_tx= crc16((unsigned char *)chk,10);
	uint16_t crc_rx= (rxBuff[8]<<8 | rxBuff[9]);
	//---------------------------------------

	if(crc_tx==crc_rx){
		*IspeedM1_roboclaw=(int32_t) ((uint32_t)((rxBuff[0] << 24) | (rxBuff[1] << 16) | (rxBuff[2] << 8) | rxBuff[3]));
		*IspeedM2_roboclaw=(int32_t) ((uint32_t)((rxBuff[4] << 24) | (rxBuff[5] << 16) | (rxBuff[6] << 8) | rxBuff[7]));
		return true;
	}
	else{
		return false;
	}

}

bool Read_Both_Encoder_Counts(UART_HandleTypeDef* address_huart,uint8_t address_roboclaw, int32_t *countsM1_roboclaw, int32_t *countsM2_roboclaw){
	uint8_t txBuff[2]; // two bytes for address and cmd, two for value
	txBuff[0] = address_roboclaw; //first to write is address
	txBuff[1] = (uint8_t)78; // second is cmd
	HAL_UART_Transmit(address_huart, txBuff, sizeof(txBuff), 100);

	uint8_t rxBuff[10];
	HAL_UART_Receive(address_huart, rxBuff, 10,100);

	//CHECK THE CHK REGISTER-----------------
	uint8_t chk[10];
	memcpy(chk,txBuff,2);
	memcpy(chk+2,rxBuff,8);
	uint16_t crc_tx= crc16((unsigned char *)chk,10);
	uint16_t crc_rx= (rxBuff[8]<<8 | rxBuff[9]);
	//---------------------------------------

	if(crc_tx==crc_rx){
		*countsM1_roboclaw=(int32_t) ((uint32_t)((rxBuff[0] << 24) | (rxBuff[1] << 16) | (rxBuff[2] << 8) | rxBuff[3]));
		*countsM2_roboclaw=(int32_t) ((uint32_t)((rxBuff[4] << 24) | (rxBuff[5] << 16) | (rxBuff[6] << 8) | rxBuff[7]));
		return true;
	}
	else{
		return false;
	}

}

/*other way to copy in CHK-------------------------------
		chk[0]=txBuff[0];
		chk[1]=txBuff[1];
		uint8_t* rxBuff_dir=&rxBuff[0];
		for(int i=0;i<=7;i++){
			chk[i+2]=*(rxBuff_dir+i);
		}
*/

bool Drive_M1_M2_With_Signed_Speed(UART_HandleTypeDef* address_huart,uint8_t address_roboclaw, int32_t SpeedM1, int32_t SpeedM2){

	  uint8_t txBuff[12];
	  txBuff[0] = address_roboclaw;
	  txBuff[1] = (uint8_t)37;
	  txBuff[2] = SpeedM1>>24;
	  txBuff[3] = SpeedM1>>16;
	  txBuff[4] = SpeedM1>>8;
	  txBuff[5] = SpeedM1;

	  txBuff[6] = SpeedM2>>24;
	  txBuff[7] = SpeedM2>>16;
	  txBuff[8] = SpeedM2>>8;
	  txBuff[9] = SpeedM2;

	  uint16_t crc_chk = crc16(txBuff, 10);
  	  txBuff[10] = crc_chk >> 8; // high value byte
  	  txBuff[11] = crc_chk; // low value byte
   	  HAL_UART_Transmit(address_huart, txBuff, sizeof(txBuff),200);

   	  uint8_t rxBuff[1];
   	  HAL_UART_Receive(address_huart, rxBuff, 1,200);

   	  if(rxBuff[0]==(uint8_t)255){
   		  return true;
   	  }
   	  else{
   		  return false;
   	  }

}

bool Set_Max_Motor_Current(UART_HandleTypeDef* address_huart,uint8_t address_roboclaw, int motor, int32_t max_current_value){

	  uint8_t cmd_motor;
	  if (motor==1) cmd_motor=133;
	  if (motor==2) cmd_motor=134;
	  uint8_t txBuff[12];
	  txBuff[0] = address_roboclaw;
	  txBuff[1] = (uint8_t)cmd_motor;
	  txBuff[2] = max_current_value>>24;
	  txBuff[3] = max_current_value>>16;
	  txBuff[4] = max_current_value>>8;
	  txBuff[5] = max_current_value;

	  txBuff[6] = 0;
	  txBuff[7] = 0;
	  txBuff[8] = 0;
	  txBuff[9] = 0;

	  uint16_t crc_chk = crc16(txBuff, 10);
  	  txBuff[10] = crc_chk >> 8; // high value byte
  	  txBuff[11] = crc_chk; // low value byte
   	  HAL_UART_Transmit(address_huart, txBuff, sizeof(txBuff), 10);

   	  uint8_t rxBuff=0;
   	  HAL_UART_Receive(address_huart, &rxBuff, 1,10);

   	  if(rxBuff==(uint8_t)255){
   		  return true;
   	  }
   	  else{
   		  return false;
   	  }

}

int Check_Status_Roboclaws(){
	bool set_0,set_1;
	Roboclaw1_State(address_huart1,(uint8_t)address_roboclaw1);
	Roboclaw2_State(address_huart2,(uint8_t)address_roboclaw2);
	if(flag_status_register_rw1[3]==1 || flag_status_register_rw2[3]==1){
		set_0=Drive_M1_M2_With_Signed_Speed(address_huart1,(uint8_t)address_roboclaw1, 0, 0);
		set_1=Drive_M1_M2_With_Signed_Speed(address_huart2,(uint8_t)address_roboclaw2, 0, 0);
		return 0;
	}else{
		return 1;
	}

}

void Roboclaw1_State(UART_HandleTypeDef* address_huart,uint8_t address_roboclaw){

	bool set_0,set_1,set_2;
	float Current_M1,Current_M2;
	uint32_t Byte_Status_roboclaw;

	set_0=Read_Status(address_huart,(uint8_t)address_roboclaw, &Byte_Status_roboclaw);

	if(set_0==true){
		if((Byte_Status_roboclaw & 0x000000)==0x000000) flag_status_register_rw1[0]=1;//Normal Status
		if((Byte_Status_roboclaw & 0x080000)==0x080000) flag_status_register_rw1[1]=1;//Main Voltage Low Warning
		if((Byte_Status_roboclaw & 0x010000)==0x010000) flag_status_register_rw1[2]=1;//Temperature Warning
	}

	set_2=Read_Motor_Currents(address_huart,(uint8_t) address_roboclaw, &Current_M1,&Current_M2);

	r1_m1=Current_M1;
	r1_m2=Current_M2;

	if(set_2==true && flag_status_register_rw1[3]==0 ){

		if((Current_M1>=max_overcurrent || Current_M2>=max_overcurrent) && (time_overcurrent_first_rw1==0.0)){
			time_overcurrent_first_rw1=timer_indoor_system;
		}

		if((Current_M1>=max_overcurrent || Current_M2>=max_overcurrent) && (time_overcurrent_first_rw1>0.0)){
			time_overcurrent_rw1=timer_indoor_system;
		}else{
			time_overcurrent_first_rw1=0;
			time_overcurrent_rw1=0;
		}

		if((time_overcurrent_rw1-time_overcurrent_first_rw1)>=max_time_overcurrent){
			flag_status_register_rw1[3]=1;
		}

	}

}

void Roboclaw2_State(UART_HandleTypeDef* address_huart,uint8_t address_roboclaw){

	bool set_0,set_1,set_2;
	float Current_M1,Current_M2;
	uint32_t Byte_Status_roboclaw;

	set_0=Read_Status(address_huart,(uint8_t)address_roboclaw, &Byte_Status_roboclaw);

	if(set_0==true){
		if((Byte_Status_roboclaw & 0x000000)==0x000000) flag_status_register_rw2[0]=1;//Normal Status
		if((Byte_Status_roboclaw & 0x080000)==0x080000) flag_status_register_rw2[1]=1;//Main Voltage Low Warning
		if((Byte_Status_roboclaw & 0x010000)==0x010000) flag_status_register_rw2[2]=1;//Temperature Warning
	}

	set_2=Read_Motor_Currents(address_huart,(uint8_t) address_roboclaw, &Current_M1,&Current_M2);

	r2_m1=Current_M1;
    r2_m2=Current_M2;

	if(set_2==true && flag_status_register_rw2[3]==0 ){

		if((Current_M1>=max_overcurrent || Current_M2>=max_overcurrent) && (time_overcurrent_first_rw2==0.0)){
			time_overcurrent_first_rw2=timer_indoor_system;
		}

		if((Current_M1>=max_overcurrent || Current_M2>=max_overcurrent) && (time_overcurrent_first_rw2>0.0)){
			time_overcurrent_rw2=timer_indoor_system;
		}else{
			time_overcurrent_first_rw2=0;
			time_overcurrent_rw2=0;
		}

		if((time_overcurrent_rw2-time_overcurrent_first_rw2)>=max_time_overcurrent){
			flag_status_register_rw2[3]=1;
		}

	}

}

bool Read_Status(UART_HandleTypeDef* address_huart,uint8_t address_roboclaw,uint32_t* Byte_Status){

	uint8_t txBuff[2]; // two bytes for address and cmd, two for value
	txBuff[0] = address_roboclaw; //first to write is address
	txBuff[1] = (uint8_t)90; // second is cmd
	HAL_UART_Transmit(address_huart, txBuff, sizeof(txBuff), 10);

	uint8_t rxBuff[6];
	HAL_UART_Receive(address_huart, rxBuff, 6,10);

	//CHECK THE CHK REGISTER-----------------
	uint8_t chk[6];
	memcpy(&chk[0],&txBuff[0],2);
	memcpy(&chk[2],&rxBuff[0],4);
	uint16_t crc_tx= crc16((unsigned char *)chk,6);
	uint16_t crc_rx= (rxBuff[4]<<8 | rxBuff[5]);
	//---------------------------------------

	if(crc_tx==crc_rx){

		*Byte_Status=(uint32_t)((rxBuff[0] << 24) | (rxBuff[1] << 16) | (rxBuff[2] << 8) | rxBuff[3]);

		return true;
	}
	else{
		return false;
	}

}
bool Read_Main_battery_Voltage(UART_HandleTypeDef* address_huart,uint8_t address_roboclaw, float* main_battery_voltage){

	uint8_t txBuff[2]; // two bytes for address and cmd, two for value
	txBuff[0] = address_roboclaw; //first to write is address
	txBuff[1] = (uint8_t)24; // second is cmd
	HAL_UART_Transmit(address_huart, txBuff, sizeof(txBuff), 10);

	uint8_t rxBuff[4];
	HAL_UART_Receive(address_huart, rxBuff, 4,10);

	//CHECK THE CHK REGISTER-----------------
	uint8_t chk[4];
	memcpy(&chk[0],&txBuff[0],2);
	memcpy(&chk[2],&rxBuff[0],2);
	uint16_t crc_tx= crc16((unsigned char *)chk,4);
	uint16_t crc_rx= (rxBuff[2]<<8 | rxBuff[3]);
	//---------------------------------------

	if(crc_tx==crc_rx){
		*main_battery_voltage=(float) ((uint16_t)((rxBuff[0] << 8) | (rxBuff[1])))/10.0;
		return true;
	}
	else{
		return false;
	}

}
bool Read_Motor_Currents(UART_HandleTypeDef* address_huart,uint8_t address_roboclaw, float *Current_M1_roboclaw, float *Current_M2_roboclaw){
	uint8_t txBuff[2]; // two bytes for address and cmd, two for value
	txBuff[0] = address_roboclaw; //first to write is address
	txBuff[1] = (uint8_t)49; // second is cmd
	HAL_UART_Transmit(address_huart, txBuff, sizeof(txBuff), 100);

	uint8_t rxBuff[6];
	HAL_UART_Receive(address_huart, rxBuff, 6,100);

	//CHECK THE CHK REGISTER-----------------
	uint8_t chk[6];
	memcpy(&chk[0],&txBuff[0],2);
	memcpy(&chk[2],&rxBuff[0],4);
	uint16_t crc_tx= crc16((unsigned char *)chk,6);
	uint16_t crc_rx= (rxBuff[4]<<8 | rxBuff[5]);
	//---------------------------------------

	if(crc_tx==crc_rx){
		*Current_M1_roboclaw=(float) ((uint16_t)((rxBuff[0] << 8) | (rxBuff[1])))/100.0;
		*Current_M2_roboclaw=(float) ((uint16_t)((rxBuff[2] << 8) | (rxBuff[3])))/100.0;
		return true;
	}
	else{
		return false;
	}

}

bool Reset_Encoder_Counters(UART_HandleTypeDef* address_huart,uint8_t address_roboclaw){
	  uint8_t txBuff[4];
	  txBuff[0] = address_roboclaw;
	  txBuff[1] = (uint8_t)20;

	  uint16_t crc_chk = crc16(txBuff, 2);
	  txBuff[2] = crc_chk >> 8; // high value byte
	  txBuff[3] = crc_chk; // low value byte
 	  HAL_UART_Transmit(address_huart, txBuff, sizeof(txBuff), 10);

 	  uint8_t rxBuff[1];
 	  HAL_UART_Receive(address_huart, rxBuff, 1,10);

 	  if(rxBuff[0]==(uint8_t)255){
 		  return true;
 	  }
 	  else{
 		  return false;
 	  }

}

bool roboclaw1_init(UART_HandleTypeDef* address_huart_roboclaw,uint8_t address_roboclaw){
		flag_status_register_rw1[0]=0;
		flag_status_register_rw1[1]=0;
		flag_status_register_rw1[2]=0;
		flag_status_register_rw1[3]=0;
		flag_status_register_rw1[4]=0;
		flag_status_register_rw1[5]=0;
		flag_status_register_rw1[6]=0;

	  	//bool set_1=Set_Max_Motor_Current(address_huart_roboclaw,(uint8_t)address_roboclaw,1,3000);
	  	//bool set_2=Set_Max_Motor_Current(address_huart_roboclaw,(uint8_t)address_roboclaw,2,3000);
	  	bool set_1=Drive_M1_M2_With_Signed_Speed(address_huart_roboclaw,(uint8_t)address_roboclaw, 0, 0);
	  	bool set_2=Reset_Encoder_Counters(address_huart_roboclaw,(uint8_t)address_roboclaw);

	  	if((set_1*set_2)==true){
	  	   		  return true;
	  	}
	  	else{
	  		return false;
	  	}

}
bool roboclaw2_init(UART_HandleTypeDef* address_huart_roboclaw,uint8_t address_roboclaw){
		flag_status_register_rw2[0]=0;
		flag_status_register_rw2[1]=0;
		flag_status_register_rw2[2]=0;
		flag_status_register_rw2[3]=0;
		flag_status_register_rw2[4]=0;
		flag_status_register_rw2[5]=0;
		flag_status_register_rw2[6]=0;

	  	//bool set_1=Set_Max_Motor_Current(address_huart_roboclaw,(uint8_t)address_roboclaw,1,3000);
	  	//bool set_2=Set_Max_Motor_Current(address_huart_roboclaw,(uint8_t)address_roboclaw,2,3000);
	  	bool set_1=Drive_M1_M2_With_Signed_Speed(address_huart_roboclaw,(uint8_t)address_roboclaw, 0, 0);
	  	bool set_2=Reset_Encoder_Counters(address_huart_roboclaw,(uint8_t)address_roboclaw);

	  	if((set_1*set_2)==true){
	  	   		  return true;
	  	}
	  	else{
	  		return false;
	  	}

}

uint16_t crc16(unsigned char *packet, int nBytes) {
  uint16_t crc=0;
  for (int byte = 0; byte < nBytes; byte++) {
    crc = crc ^ ((unsigned int)packet[byte] << 8);
    for (unsigned char bit = 0; bit < 8; bit++) {
      if (crc & 0x8000) {
        crc = (crc << 1) ^ 0x1021;
      } else {
        crc = crc << 1;
      }
    }
  }
  return crc;
}

/* USER CODE END 4 */

void Error_Handler(void)
{
  __disable_irq();
  while (1)
  {
  }
}
